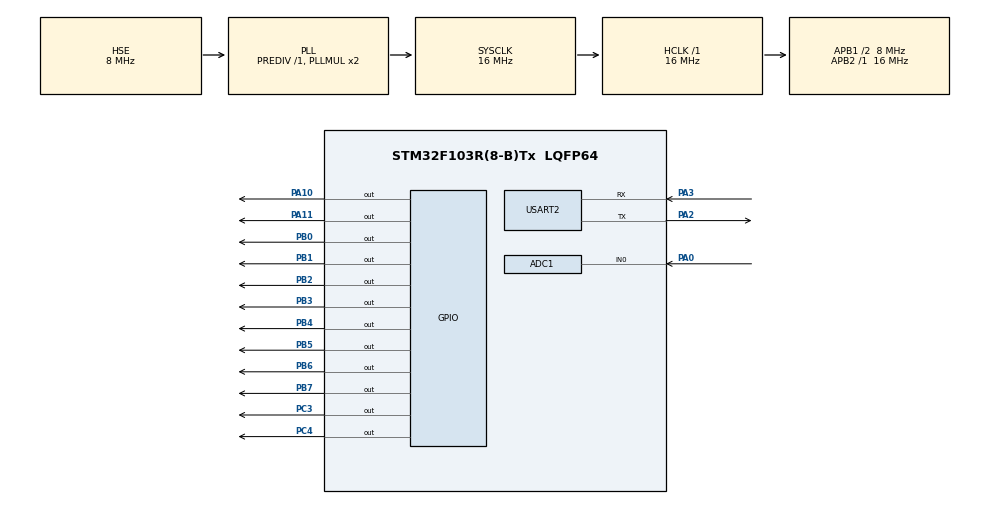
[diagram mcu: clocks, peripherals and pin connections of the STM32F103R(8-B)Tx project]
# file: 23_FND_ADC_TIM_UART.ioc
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ADC1.Channel-0\#ChannelRegularConversion=ADC_CHANNEL_0
ADC1.ContinuousConvMode=ENABLE
ADC1.NbrOfConversionFlag=1
ADC1.Rank-0\#ChannelRegularConversion=1
ADC1.SamplingTime-0\#ChannelRegularConversion=ADC_SAMPLETIME_13CYCLES_5
ADC1.master=1
Mcu.Family=STM32F1
Mcu.Name=STM32F103R(8-B)Tx
Mcu.Package=LQFP64
NVIC.PriorityGroup=NVIC_PRIORITYGROUP_4
PA0-WKUP.Signal=ADCx_IN0
PA10.Signal=GPIO_Output
PA11.Signal=GPIO_Output
PA13.Mode=Serial_Wire
PA13.Signal=SYS_JTMS-SWDIO
PA14.Mode=Serial_Wire
PA14.Signal=SYS_JTCK-SWCLK
PA2.Mode=Asynchronous
PA2.Signal=USART2_TX
PA3.Mode=Asynchronous
PA3.Signal=USART2_RX
PB0.Signal=GPIO_Output
PB1.Signal=GPIO_Output
PB2.Signal=GPIO_Output
PB3.Signal=GPIO_Output
PB4.Signal=GPIO_Output
PB5.Signal=GPIO_Output
PB6.Signal=GPIO_Output
PB7.Signal=GPIO_Output
PC14-OSC32_IN.Mode=LSE-External-Oscillator
PC14-OSC32_IN.Signal=RCC_OSC32_IN
PC15-OSC32_OUT.Mode=LSE-External-Oscillator
PC15-OSC32_OUT.Signal=RCC_OSC32_OUT
PC3.Signal=GPIO_Output
PC4.Signal=GPIO_Output
PD0-OSC_IN.Mode=HSE-External-Clock-Source
PD0-OSC_IN.Signal=RCC_OSC_IN
PD1-OSC_OUT.Mode=HSE-External-Clock-Source
PD1-OSC_OUT.Signal=RCC_OSC_OUT
ProjectManager.HeapSize=0x200
ProjectManager.StackSize=0x400
ProjectManager.TargetToolchain=STM32CubeIDE
RCC.AHBFreq_Value=16000000
RCC.APB1CLKDivider=RCC_HCLK_DIV2
RCC.APB1Freq_Value=8000000
RCC.APB1TimFreq_Value=16000000
RCC.APB2Freq_Value=16000000
RCC.APB2TimFreq_Value=16000000
RCC.HCLKFreq_Value=16000000
RCC.PLLSourceVirtual=RCC_PLLSOURCE_HSE
RCC.SYSCLKFreq_VALUE=16000000
RCC.SYSCLKSource=RCC_SYSCLKSOURCE_PLLCLK
RCC.USBFreq_Value=16000000
SH.ADCx_IN0.0=ADC1_IN0,IN0
USART2.VirtualMode=VM_ASYNC
board=custom

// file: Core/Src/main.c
/* USER CODE BEGIN Header */
/**
 ******************************************************************************
 * @file           : main.c
 * @brief          : Main program body
 ******************************************************************************
 * @attention
 *
 * Copyright (c) 2023 STMicroelectronics.
 * All rights reserved.
 *
 * This software is licensed under terms that can be found in the LICENSE file
 * in the root directory of this software component.
 * If no LICENSE file comes with this software, it is provided AS-IS.
 *
 ******************************************************************************
 */
/* USER CODE END Header */
#include "main.h"

/* USER CODE BEGIN Includes */
#include <stdio.h>
/* USER CODE END Includes */

ADC_HandleTypeDef hadc1;

UART_HandleTypeDef huart2;

/* USER CODE BEGIN PV */
int adc_value; 	// adc 저장
int cnt = 0; 	// systick 시간 저장
uint8_t number[] =
		{ 0x3f, 0x06, 0x5b, 0x4f, 0x66, 0x6d, 0x7d, 0x07, 0x7f, 0x67 };
volatile int ADC_1000, ADC_100, ADC_10, ADC_1;

/* USER CODE END PV */

void SystemClock_Config(void);
static void MX_GPIO_Init(void);
static void MX_ADC1_Init(void);
static void MX_USART2_UART_Init(void);

/* USER CODE BEGIN 0 */
int __io_putchar(int ch) {
	HAL_UART_Transmit(&huart2, (uint8_t*) &ch, 1, 100);
	if (ch == '\n') {
		HAL_UART_Transmit(&huart2, (uint8_t*) '/r', 1, 100);
	}
	return ch;
}
;

typedef struct fnd {
	GPIO_TypeDef *port;
	uint16_t pin;
} FND;
FND value[8] = { { GPIOB, GPIO_PIN_0 }, { GPIOB, GPIO_PIN_1 }, { GPIOB,
GPIO_PIN_2 }, { GPIOB, GPIO_PIN_3 }, { GPIOB, GPIO_PIN_4 }, { GPIOB,
GPIO_PIN_5 }, { GPIOB, GPIO_PIN_6 }, { GPIOB, GPIO_PIN_7 } };
FND sel[4] = { { GPIOA, GPIO_PIN_10 }, { GPIOA, GPIO_PIN_11 }, { GPIOC,
GPIO_PIN_4 }, { GPIOC, GPIO_PIN_3 } };

void display_fnd(uint8_t data, uint8_t position, uint32_t time) {
	int i;
	for (i = 0; i < 4; i++) {
		if (i == position)
			HAL_GPIO_WritePin(sel[i].port, sel[i].pin, 1);
		else
			HAL_GPIO_WritePin(sel[i].port, sel[i].pin, 0);
	}
	for (i = 0; i < 8; i++) {
		if ((data & (1 << i)) != 0)
			HAL_GPIO_WritePin(value[i].port, value[i].pin, 1);
		else
			HAL_GPIO_WritePin(value[i].port, value[i].pin, 0);
	}
	HAL_Delay(time);
}
;

/* USER CODE END 0 */

int main(void) {

	/* MCU Configuration--------------------------------------------------------*/

	/* Reset of all peripherals, Initializes the Flash interface and the Systick. */
	HAL_Init();

	/* Configure the system clock */
	SystemClock_Config();

	/* Initialize all configured peripherals */
	MX_GPIO_Init();
	MX_ADC1_Init();
	MX_USART2_UART_Init();
	/* USER CODE BEGIN 2 */
	HAL_ADCEx_Calibration_Start(&hadc1);
	HAL_ADC_Start_IT(&hadc1);
	cnt = HAL_GetTick();

	/* USER CODE END 2 */

	/* Infinite loop */
	/* USER CODE BEGIN WHILE */
	while (1) {
#if 1
		if (HAL_GetTick() - cnt >= 1000) {
			if (HAL_ADC_PollForConversion(&hadc1, 10) == HAL_OK) {
				adc_value = HAL_ADC_GetValue(&hadc1);
				printf("ADC_VALUE = %d\n\n", adc_value);
				ADC_1000 = adc_value / 1000;
				ADC_100 = (adc_value % 1000) / 100;
				ADC_10 = ((adc_value % 1000) % 100) / 10;
				ADC_1 = ((adc_value % 1000) % 100) % 10;
				printf("ADC_VALUE = %d\n\n", adc_value);
				cnt = HAL_GetTick();
			}
		}
		display_fnd(number[ADC_1000], 3, 5);
		display_fnd(number[ADC_100], 2, 5);
		display_fnd(number[ADC_10], 1, 5);
		display_fnd(number[ADC_1], 0, 5);
#endif

#if 0
	  if(HAL_GetTick() - cnt >= 1000){
		  if(HAL_ADC_PollForConversion(&hadc1, 10) == HAL_OK){
			  adc_value = HAL_ADC_GetValue(&hadc1);
			  printf("ADC_VALUE = %d\n\n", adc_value);
			  cnt = HAL_GetTick();
		  }
	  }
#endif

		/* USER CODE END WHILE */

	}
}

void SystemClock_Config(void) {
	RCC_OscInitTypeDef RCC_OscInitStruct = { 0 };
	RCC_ClkInitTypeDef RCC_ClkInitStruct = { 0 };
	RCC_PeriphCLKInitTypeDef PeriphClkInit = { 0 };

	/** Initializes the RCC Oscillators according to the specified parameters
	 * in the RCC_OscInitTypeDef structure.
	 */
	RCC_OscInitStruct.OscillatorType = RCC_OSCILLATORTYPE_HSE;
	RCC_OscInitStruct.HSEState = RCC_HSE_BYPASS;
	RCC_OscInitStruct.HSEPredivValue = RCC_HSE_PREDIV_DIV1;
	RCC_OscInitStruct.HSIState = RCC_HSI_ON;
	RCC_OscInitStruct.PLL.PLLState = RCC_PLL_ON;
	RCC_OscInitStruct.PLL.PLLSource = RCC_PLLSOURCE_HSE;
	RCC_OscInitStruct.PLL.PLLMUL = RCC_PLL_MUL2;
	if (HAL_RCC_OscConfig(&RCC_OscInitStruct) != HAL_OK) {
		Error_Handler();
	}

	/** Initializes the CPU, AHB and APB buses clocks
	 */
	RCC_ClkInitStruct.ClockType = RCC_CLOCKTYPE_HCLK | RCC_CLOCKTYPE_SYSCLK
			| RCC_CLOCKTYPE_PCLK1 | RCC_CLOCKTYPE_PCLK2;
	RCC_ClkInitStruct.SYSCLKSource = RCC_SYSCLKSOURCE_PLLCLK;
	RCC_ClkInitStruct.AHBCLKDivider = RCC_SYSCLK_DIV1;
	RCC_ClkInitStruct.APB1CLKDivider = RCC_HCLK_DIV2;
	RCC_ClkInitStruct.APB2CLKDivider = RCC_HCLK_DIV1;

	if (HAL_RCC_ClockConfig(&RCC_ClkInitStruct, FLASH_LATENCY_0) != HAL_OK) {
		Error_Handler();
	}
	PeriphClkInit.PeriphClockSelection = RCC_PERIPHCLK_ADC;
	PeriphClkInit.AdcClockSelection = RCC_ADCPCLK2_DIV2;
	if (HAL_RCCEx_PeriphCLKConfig(&PeriphClkInit) != HAL_OK) {
		Error_Handler();
	}
}

static void MX_ADC1_Init(void) {

	ADC_ChannelConfTypeDef sConfig = { 0 };

	/** Common config
	 */
	hadc1.Instance = ADC1;
	hadc1.Init.ScanConvMode = ADC_SCAN_DISABLE;
	hadc1.Init.ContinuousConvMode = ENABLE;
	hadc1.Init.DiscontinuousConvMode = DISABLE;
	hadc1.Init.ExternalTrigConv = ADC_SOFTWARE_START;
	hadc1.Init.DataAlign = ADC_DATAALIGN_RIGHT;
	hadc1.Init.NbrOfConversion = 1;
	if (HAL_ADC_Init(&hadc1) != HAL_OK) {
		Error_Handler();
	}

	/** Configure Regular Channel
	 */
	sConfig.Channel = ADC_CHANNEL_0;
	sConfig.Rank = ADC_REGULAR_RANK_1;
	sConfig.SamplingTime = ADC_SAMPLETIME_13CYCLES_5;
	if (HAL_ADC_ConfigChannel(&hadc1, &sConfig) != HAL_OK) {
		Error_Handler();
	}

}

static void MX_USART2_UART_Init(void) {

	huart2.Instance = USART2;
	huart2.Init.BaudRate = 115200;
	huart2.Init.WordLength = UART_WORDLENGTH_8B;
	huart2.Init.StopBits = UART_STOPBITS_1;
	huart2.Init.Parity = UART_PARITY_NONE;
	huart2.Init.Mode = UART_MODE_TX_RX;
	huart2.Init.HwFlowCtl = UART_HWCONTROL_NONE;
	huart2.Init.OverSampling = UART_OVERSAMPLING_16;
	if (HAL_UART_Init(&huart2) != HAL_OK) {
		Error_Handler();
	}

}

static void MX_GPIO_Init(void) {
	GPIO_InitTypeDef GPIO_InitStruct = { 0 };

	/* GPIO Ports Clock Enable */
	__HAL_RCC_GPIOC_CLK_ENABLE();
	__HAL_RCC_GPIOD_CLK_ENABLE();
	__HAL_RCC_GPIOA_CLK_ENABLE();
	__HAL_RCC_GPIOB_CLK_ENABLE();

	/*Configure GPIO pin Output Level */
	HAL_GPIO_WritePin(GPIOC, GPIO_PIN_3 | GPIO_PIN_4, GPIO_PIN_RESET);

	/*Configure GPIO pin Output Level */
	HAL_GPIO_WritePin(GPIOB,
			GPIO_PIN_0 | GPIO_PIN_1 | GPIO_PIN_2 | GPIO_PIN_3 | GPIO_PIN_4
					| GPIO_PIN_5 | GPIO_PIN_6 | GPIO_PIN_7, GPIO_PIN_RESET);

	/*Configure GPIO pin Output Level */
	HAL_GPIO_WritePin(GPIOA, GPIO_PIN_10 | GPIO_PIN_11, GPIO_PIN_RESET);

	/*Configure GPIO pins : PC3 PC4 */
	GPIO_InitStruct.Pin = GPIO_PIN_3 | GPIO_PIN_4;
	GPIO_InitStruct.Mode = GPIO_MODE_OUTPUT_PP;
	GPIO_InitStruct.Pull = GPIO_NOPULL;
	GPIO_InitStruct.Speed = GPIO_SPEED_FREQ_LOW;
	HAL_GPIO_Init(GPIOC, &GPIO_InitStruct);

	/*Configure GPIO pins : PB0 PB1 PB2 PB3
	 PB4 PB5 PB6 PB7 */
	GPIO_InitStruct.Pin = GPIO_PIN_0 | GPIO_PIN_1 | GPIO_PIN_2 | GPIO_PIN_3
			| GPIO_PIN_4 | GPIO_PIN_5 | GPIO_PIN_6 | GPIO_PIN_7;
	GPIO_InitStruct.Mode = GPIO_MODE_OUTPUT_PP;
	GPIO_InitStruct.Pull = GPIO_NOPULL;
	GPIO_InitStruct.Speed = GPIO_SPEED_FREQ_LOW;
	HAL_GPIO_Init(GPIOB, &GPIO_InitStruct);

	/*Configure GPIO pins : PA10 PA11 */
	GPIO_InitStruct.Pin = GPIO_PIN_10 | GPIO_PIN_11;
	GPIO_InitStruct.Mode = GPIO_MODE_OUTPUT_PP;
	GPIO_InitStruct.Pull = GPIO_NOPULL;
	GPIO_InitStruct.Speed = GPIO_SPEED_FREQ_LOW;
	HAL_GPIO_Init(GPIOA, &GPIO_InitStruct);

}

void Error_Handler(void) {
	__disable_irq();
	while (1) {
	}
}
